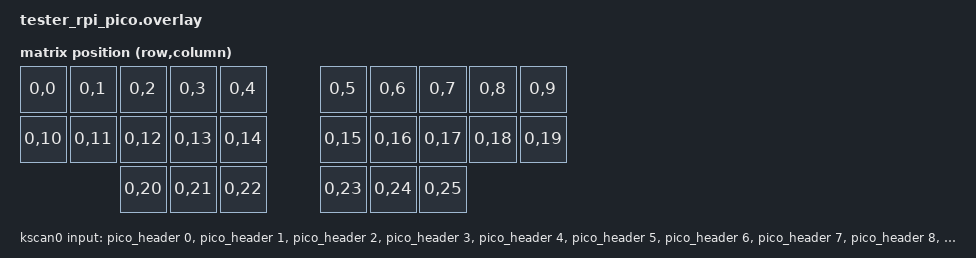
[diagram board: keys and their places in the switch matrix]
#include <dt-bindings/zmk/matrix_transform.h>
#include "tester_rpi_pico-layouts.dtsi"

&physical_layout0 {
    transform = <&transform0>;
};

&physical_layout1 {
    transform = <&transform0>;
};

/ {
    chosen {
        zmk,kscan = &kscan0;
        zmk,physical-layout = &physical_layout0;
    };

    kscan0: kscan {
        compatible = "zmk,kscan-gpio-direct";
        wakeup-source;
        debounce-press-ms = <10>;
        debounce-release-ms = <10>;
        input-gpios
            = <&pico_header 0 (GPIO_ACTIVE_LOW | GPIO_PULL_UP)>
            , <&pico_header 1 (GPIO_ACTIVE_LOW | GPIO_PULL_UP)>
            , <&pico_header 2 (GPIO_ACTIVE_LOW | GPIO_PULL_UP)>
            , <&pico_header 3 (GPIO_ACTIVE_LOW | GPIO_PULL_UP)>
            , <&pico_header 4 (GPIO_ACTIVE_LOW | GPIO_PULL_UP)>
            , <&pico_header 5 (GPIO_ACTIVE_LOW | GPIO_PULL_UP)>
            , <&pico_header 6 (GPIO_ACTIVE_LOW | GPIO_PULL_UP)>
            , <&pico_header 7 (GPIO_ACTIVE_LOW | GPIO_PULL_UP)>
            , <&pico_header 8 (GPIO_ACTIVE_LOW | GPIO_PULL_UP)>
            , <&pico_header 9 (GPIO_ACTIVE_LOW | GPIO_PULL_UP)>
            , <&pico_header 10 (GPIO_ACTIVE_LOW | GPIO_PULL_UP)>
            , <&pico_header 11 (GPIO_ACTIVE_LOW | GPIO_PULL_UP)>
            , <&pico_header 12 (GPIO_ACTIVE_LOW | GPIO_PULL_UP)>
            , <&pico_header 13 (GPIO_ACTIVE_LOW | GPIO_PULL_UP)>
            , <&pico_header 14 (GPIO_ACTIVE_LOW | GPIO_PULL_UP)>
            , <&pico_header 15 (GPIO_ACTIVE_LOW | GPIO_PULL_UP)>
            , <&pico_header 16 (GPIO_ACTIVE_LOW | GPIO_PULL_UP)>
            , <&pico_header 17 (GPIO_ACTIVE_LOW | GPIO_PULL_UP)>
            , <&pico_header 18 (GPIO_ACTIVE_LOW | GPIO_PULL_UP)>
            , <&pico_header 19 (GPIO_ACTIVE_LOW | GPIO_PULL_UP)>
            , <&pico_header 20 (GPIO_ACTIVE_LOW | GPIO_PULL_UP)>
            , <&pico_header 21 (GPIO_ACTIVE_LOW | GPIO_PULL_UP)>
            , <&pico_header 22 (GPIO_ACTIVE_LOW | GPIO_PULL_UP)>
            , <&pico_header 26 (GPIO_ACTIVE_LOW | GPIO_PULL_UP)>
            , <&pico_header 27 (GPIO_ACTIVE_LOW | GPIO_PULL_UP)>
            , <&pico_header 28 (GPIO_ACTIVE_LOW | GPIO_PULL_UP)>
            ;
    };

    transform0: keymap_transform {
        compatible = "zmk,matrix-transform";
        columns = <26>;
        rows = <1>;
        map = <
        RC(0,0)  RC(0,1)  RC(0,2)  RC(0,3)  RC(0,4)  RC(0,5)  RC(0,6)  RC(0,7)  RC(0,8)  RC(0,9)
        RC(0,10) RC(0,11)  RC(0,12)  RC(0,13)  RC(0,14)  RC(0,15)  RC(0,16)  RC(0,17) RC(0,18) RC(0,19)
        RC(0,20) RC(0,21) RC(0,22) RC(0,23) RC(0,24) RC(0,25)
        >;
    };
};
